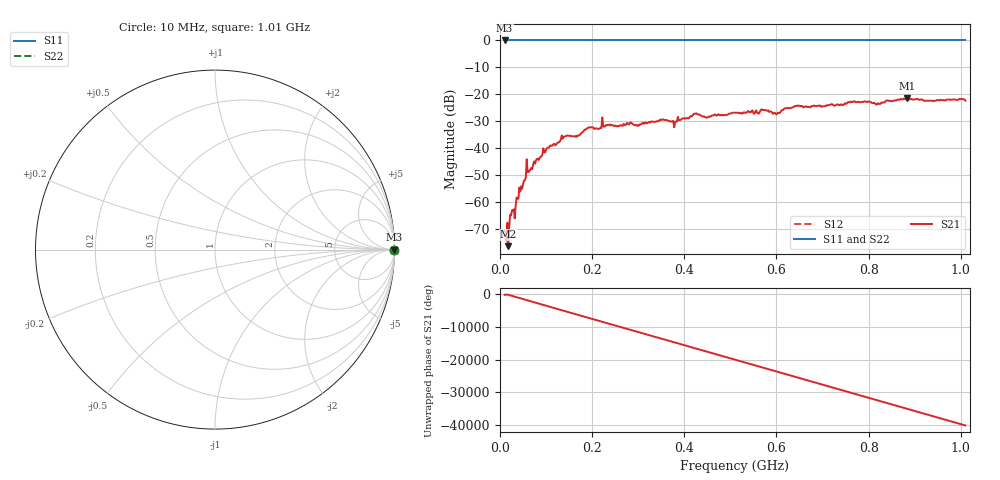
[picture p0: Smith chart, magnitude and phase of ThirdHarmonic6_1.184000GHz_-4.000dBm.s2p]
! 8/16/2025 12:06:39 PM
! C:\ANRITSUVNA\TEMP\TEMP.S2P
! CHANNEL.1
! TR.MEASUREMENT
! RAW.DATA
! RF.CORRECTION.OFF
! AVERAGING.OFF
! IF.BANDWIDTH: 5KHZ
! SWEEPTYPE:  FREQ.SWEEP(Linear)
! Reference Plane Port Info
! PORT:  PORT1  PORT2
! DISTANCE:  0  m  0  m
! TIME:  0  s  0  s
! PHASE.OFFSET:  0  deg.  0  deg.
! LOSS:  0  dB  0  dB
! REF.LOSS:  0  dB  0  dB
! REF.FREQ:  0  Hz  0  Hz
! Power Info
! POWER:  -20  dBm  -20  dBm
! EFF.POWER:  -20  dBm  -20  dBm
! SOURCE.ATTEN:  0  dB  0  dB
! TEST.ATTEN:  0  dB  0  dB
# GHZ S RI R 50.0
! FREQ.GHZ  S11RE  S11IM  S21RE  S21IM  S12RE  S12IM  S22RE  S22IM
!; PortSelection: Port_12
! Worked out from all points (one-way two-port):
!   501 points, 10 MHz to 1.01 GHz, reference 50 ohm
!   highest |S21| = -21.38 dB at 884 MHz (marker M1); lowest = -76.3 dB at 18 MHz (marker M2)
!   lowest |S11| = 0.0 dB at 10 MHz (marker M3)
!   |S11| at or under -10 dB: nowhere
!   |S22| runs from 0.0 to 0.0 dB; largest |S21 - S12| = 1.1
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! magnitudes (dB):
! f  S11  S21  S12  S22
! 10 MHz  0.0  -70.6  0.0  0.0
! 18 MHz  0.0  -76.3  0.0  0.0
! 26 MHz  0.0  -63.0  0.0  0.0
! 36 MHz  0.0  -58.3  0.0  0.0
! 40 MHz  0.0  -58.7  0.0  0.0
! 62 MHz  0.0  -48.8  0.0  0.0
! 98 MHz  0.0  -41.5  0.0  0.0
! 138 MHz  0.0  -35.8  0.0  0.0
! 178 MHz  0.0  -34.3  0.0  0.0
! 226 MHz  0.0  -31.9  0.0  0.0
! 344 MHz  0.0  -30.0  0.0  0.0
! 380 MHz  0.0  -30.2  0.0  0.0
! 424 MHz  0.0  -27.2  0.0  0.0
! 450 MHz  0.0  -28.6  0.0  0.0
! 510 MHz  0.0  -26.8  0.0  0.0
! 572 MHz  0.0  -25.8  0.0  0.0
! 602 MHz  0.0  -27.0  0.0  0.0
! 644 MHz  0.0  -24.3  0.0  0.0
! 678 MHz  0.0  -24.4  0.0  0.0
! 844 MHz  0.0  -22.5  0.0  0.0
! 884 MHz  0.0  -21.4  0.0  0.0
! 1.01 GHz  0.0  -22.4  0.0  0.0
